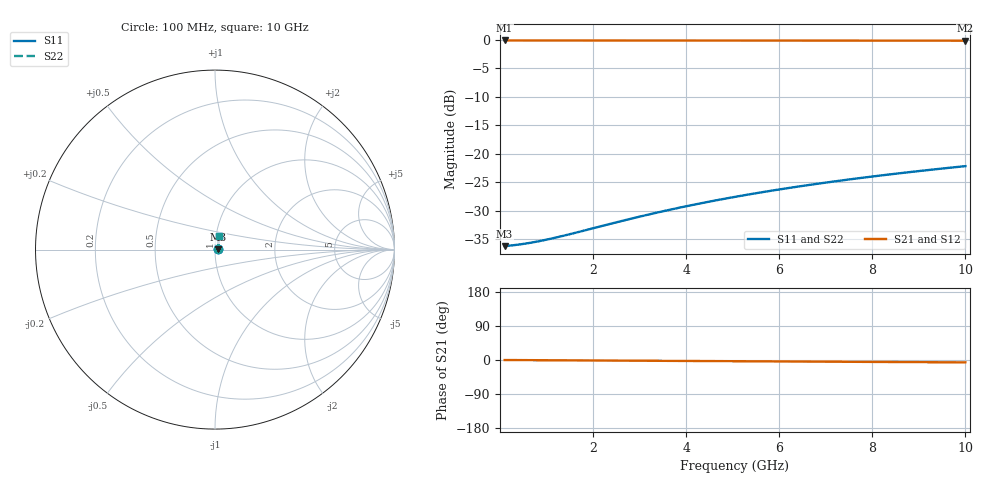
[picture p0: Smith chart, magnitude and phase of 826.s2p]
# Hz S RI R 50.00
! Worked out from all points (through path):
!   100 points, 100 MHz to 10 GHz, reference 50 ohm
!   highest |S21| = -0.14 dB at 100 MHz (marker M1); lowest = -0.2 dB at 10 GHz (marker M2)
!   lowest |S11| = -36.2 dB at 100 MHz (marker M3), VSWR 1.03, Z = 51.6 + j0.077 ohm
!   |S11| at or under -10 dB: start of sweep to end of sweep
!   |S22| runs from -36.2 to -22.2 dB; largest |S21 - S12| = 0
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1e8  0.0155 0.000747  0.9845 -0.00108  0.9845 -0.00108  0.0155 0.000747
3e8  0.0156 0.00224  0.9844 -0.00325  0.9844 -0.00325  0.0156 0.00224
5e8  0.0158 0.00373  0.9842 -0.00542  0.9842 -0.00542  0.0158 0.00373
8e8  0.0159 0.00597  0.9841 -0.00867  0.9841 -0.00867  0.0159 0.00597
1e9  0.016 0.00746  0.984 -0.0108  0.984 -0.0108  0.016 0.00746
1.2e9  0.0161 0.00895  0.9839 -0.013  0.9839 -0.013  0.0161 0.00895
1.5e9  0.0162 0.0112  0.9838 -0.0163  0.9838 -0.0163  0.0162 0.0112
1.8e9  0.0164 0.0134  0.9836 -0.0195  0.9836 -0.0195  0.0164 0.0134
2.7e9  0.0168 0.0201  0.9831 -0.0292  0.9831 -0.0292  0.0168 0.0201
3.1e9  0.0171 0.0231  0.9828 -0.0336  0.9828 -0.0336  0.0171 0.0231
3.4e9  0.0173 0.0253  0.9826 -0.0368  0.9826 -0.0368  0.0173 0.0253
3.8e9  0.0176 0.0283  0.9823 -0.0411  0.9823 -0.0411  0.0176 0.0283
4.2e9  0.0179 0.0312  0.982 -0.0454  0.982 -0.0454  0.0179 0.0312
4.6e9  0.0182 0.0342  0.9817 -0.0498  0.9817 -0.0498  0.0182 0.0342
5.1e9  0.0186 0.0379  0.9812 -0.0551  0.9812 -0.0551  0.0186 0.0379
5.5e9  0.019 0.0408  0.9808 -0.0595  0.9808 -0.0595  0.019 0.0408
5.9e9  0.0194 0.0438  0.9804 -0.0638  0.9804 -0.0638  0.0194 0.0438
6.7e9  0.0203 0.0497  0.9794 -0.0724  0.9794 -0.0724  0.0203 0.0497
7.5e9  0.0213 0.0555  0.9784 -0.0809  0.9784 -0.0809  0.0213 0.0555
8.4e9  0.0225 0.0621  0.977 -0.0906  0.977 -0.0906  0.0225 0.0621
9.2e9  0.0237 0.0679  0.9758 -0.0991  0.9758 -0.0991  0.0237 0.0679
1e10  0.025 0.0737  0.9744 -0.1076  0.9744 -0.1076  0.025 0.0737
